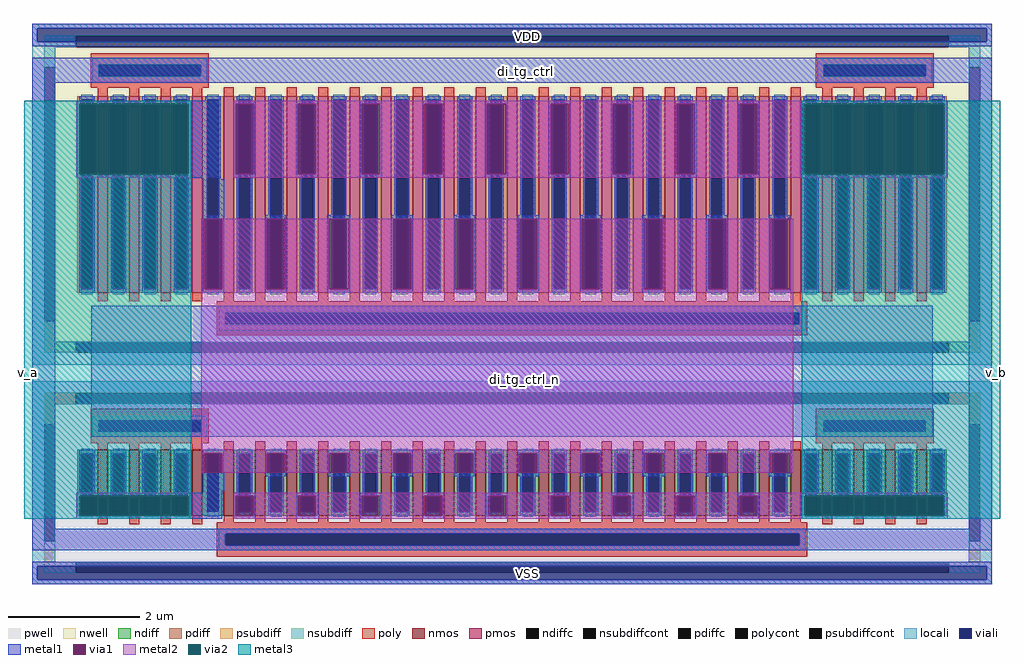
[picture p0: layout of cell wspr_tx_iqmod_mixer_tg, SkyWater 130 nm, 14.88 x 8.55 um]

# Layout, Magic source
magic
tech sky130A
magscale 1 2
<< locali >>
rect -15 975 2910 990
rect -15 935 0 975
rect 2895 935 2910 975
rect -15 20 55 935
rect 2840 20 2910 935
rect -15 -50 2910 20
rect -15 -170 2910 -100
rect -15 -650 55 -170
rect 2840 -650 2910 -170
rect -15 -665 2910 -650
rect -15 -705 0 -665
rect 2895 -705 2910 -665
rect -15 -720 2910 -705
<< viali >>
rect 0 935 2895 975
rect 0 -705 2895 -665
<< metal1 >>
rect -15 975 2910 990
rect -15 935 0 975
rect 2895 935 2910 975
rect -15 920 2910 935
rect -15 810 2910 885
rect -15 -550 55 810
rect 120 745 560 755
rect 120 530 130 745
rect 460 530 560 745
rect 120 520 560 530
rect 600 745 665 755
rect 600 530 605 745
rect 660 530 665 745
rect 600 520 665 530
rect 790 745 855 755
rect 790 530 795 745
rect 850 530 855 745
rect 790 520 855 530
rect 985 745 1050 755
rect 985 530 990 745
rect 1045 530 1050 745
rect 985 520 1050 530
rect 1175 745 1240 755
rect 1175 530 1180 745
rect 1235 530 1240 745
rect 1175 520 1240 530
rect 1365 745 1435 755
rect 1365 530 1370 745
rect 1430 530 1435 745
rect 1365 520 1435 530
rect 1560 745 1625 755
rect 1560 530 1565 745
rect 1620 530 1625 745
rect 1560 520 1625 530
rect 1750 745 1815 755
rect 1750 530 1755 745
rect 1810 530 1815 745
rect 1750 520 1815 530
rect 1945 745 2010 755
rect 1945 530 1950 745
rect 2005 530 2010 745
rect 1945 520 2010 530
rect 2135 745 2200 755
rect 2135 530 2140 745
rect 2195 530 2200 745
rect 2135 520 2200 530
rect 2325 745 2775 755
rect 2325 530 2335 745
rect 2765 530 2775 745
rect 2325 520 2775 530
rect 505 405 515 520
rect 555 515 560 520
rect 555 405 570 515
rect 505 395 570 405
rect 505 180 510 395
rect 565 180 570 395
rect 505 170 570 180
rect 695 395 760 405
rect 695 180 700 395
rect 755 180 760 395
rect 695 170 760 180
rect 885 395 955 405
rect 885 180 890 395
rect 950 180 955 395
rect 885 170 955 180
rect 1080 395 1145 405
rect 1080 180 1085 395
rect 1140 180 1145 395
rect 1080 170 1145 180
rect 1270 395 1335 405
rect 1270 180 1275 395
rect 1330 180 1335 395
rect 1270 170 1335 180
rect 1465 395 1530 405
rect 1465 180 1470 395
rect 1525 180 1530 395
rect 1465 170 1530 180
rect 1655 395 1720 405
rect 1655 180 1660 395
rect 1715 180 1720 395
rect 1655 170 1720 180
rect 1845 395 1910 405
rect 1845 180 1850 395
rect 1905 180 1910 395
rect 1845 170 1910 180
rect 2040 395 2105 405
rect 2040 180 2045 395
rect 2100 180 2105 395
rect 2040 170 2105 180
rect 2230 395 2295 405
rect 2230 180 2235 395
rect 2230 170 2295 180
rect 165 -270 2730 130
rect 505 -320 570 -310
rect 505 -380 510 -320
rect 565 -380 570 -320
rect 505 -435 570 -380
rect 695 -320 760 -310
rect 695 -380 700 -320
rect 755 -380 760 -320
rect 695 -390 760 -380
rect 885 -320 955 -310
rect 885 -380 890 -320
rect 950 -380 955 -320
rect 885 -390 955 -380
rect 1080 -320 1145 -310
rect 1080 -380 1085 -320
rect 1140 -380 1145 -320
rect 1080 -390 1145 -380
rect 1270 -320 1335 -310
rect 1270 -380 1275 -320
rect 1330 -380 1335 -320
rect 1270 -390 1335 -380
rect 1465 -320 1530 -310
rect 1465 -380 1470 -320
rect 1525 -380 1530 -320
rect 1465 -390 1530 -380
rect 1655 -320 1720 -310
rect 1655 -380 1660 -320
rect 1715 -380 1720 -320
rect 1655 -390 1720 -380
rect 1845 -320 1915 -310
rect 1845 -380 1850 -320
rect 1910 -380 1915 -320
rect 1845 -390 1915 -380
rect 2040 -320 2105 -310
rect 2040 -380 2045 -320
rect 2100 -380 2105 -320
rect 2040 -390 2105 -380
rect 2230 -320 2300 -310
rect 2230 -380 2235 -320
rect 2295 -380 2300 -320
rect 2230 -390 2300 -380
rect 505 -440 565 -435
rect 120 -450 565 -440
rect 120 -510 130 -450
rect 460 -510 565 -450
rect 120 -520 565 -510
rect 600 -450 665 -440
rect 600 -510 605 -450
rect 660 -510 665 -450
rect 600 -520 665 -510
rect 790 -450 860 -440
rect 790 -510 795 -450
rect 850 -510 860 -450
rect 790 -520 860 -510
rect 985 -450 1050 -440
rect 985 -510 990 -450
rect 1045 -510 1050 -450
rect 985 -520 1050 -510
rect 1175 -450 1240 -440
rect 1175 -510 1180 -450
rect 1235 -510 1240 -450
rect 1175 -520 1240 -510
rect 1365 -450 1435 -440
rect 1365 -510 1375 -450
rect 1430 -510 1435 -450
rect 1365 -520 1435 -510
rect 1560 -450 1625 -440
rect 1560 -510 1565 -450
rect 1620 -510 1625 -450
rect 1560 -520 1625 -510
rect 1750 -450 1820 -440
rect 1750 -510 1755 -450
rect 1810 -510 1820 -450
rect 1750 -520 1820 -510
rect 1945 -450 2010 -440
rect 1945 -510 1950 -450
rect 2005 -510 2010 -450
rect 1945 -520 2010 -510
rect 2135 -450 2200 -440
rect 2135 -510 2140 -450
rect 2195 -510 2200 -450
rect 2135 -520 2200 -510
rect 2325 -450 2775 -440
rect 2325 -510 2340 -450
rect 2765 -510 2775 -450
rect 2325 -520 2775 -510
rect 2840 -550 2910 810
rect -15 -615 560 -550
rect 2340 -615 2910 -550
rect -15 -665 2910 -650
rect -15 -705 0 -665
rect 2895 -705 2910 -665
rect -15 -720 2910 -705
<< via1 >>
rect 130 530 460 745
rect 605 530 660 745
rect 795 530 850 745
rect 990 530 1045 745
rect 1180 530 1235 745
rect 1370 530 1430 745
rect 1565 530 1620 745
rect 1755 530 1810 745
rect 1950 530 2005 745
rect 2140 530 2195 745
rect 2335 530 2765 745
rect 510 180 565 395
rect 700 180 755 395
rect 890 180 950 395
rect 1085 180 1140 395
rect 1275 180 1330 395
rect 1470 180 1525 395
rect 1660 180 1715 395
rect 1850 180 1905 395
rect 2045 180 2100 395
rect 2235 180 2295 395
rect 510 -380 565 -320
rect 700 -380 755 -320
rect 890 -380 950 -320
rect 1085 -380 1140 -320
rect 1275 -380 1330 -320
rect 1470 -380 1525 -320
rect 1660 -380 1715 -320
rect 1850 -380 1910 -320
rect 2045 -380 2100 -320
rect 2235 -380 2295 -320
rect 130 -510 460 -450
rect 605 -510 660 -450
rect 795 -510 850 -450
rect 990 -510 1045 -450
rect 1180 -510 1235 -450
rect 1375 -510 1430 -450
rect 1565 -510 1620 -450
rect 1755 -510 1810 -450
rect 1950 -510 2005 -450
rect 2140 -510 2195 -450
rect 2340 -510 2765 -450
<< metal2 >>
rect 120 745 470 755
rect 120 530 130 745
rect 460 530 470 745
rect 120 520 470 530
rect 600 745 2775 755
rect 600 530 605 745
rect 660 530 795 745
rect 850 530 990 745
rect 1045 530 1180 745
rect 1235 530 1370 745
rect 1430 530 1565 745
rect 1620 530 1755 745
rect 1810 530 1950 745
rect 2005 530 2140 745
rect 2195 530 2335 745
rect 2765 530 2775 745
rect 600 520 2775 530
rect 500 180 510 395
rect 565 180 700 395
rect 755 180 890 395
rect 950 180 1085 395
rect 1140 180 1275 395
rect 1330 180 1470 395
rect 1525 180 1660 395
rect 1715 180 1850 395
rect 1905 180 2045 395
rect 2100 180 2235 395
rect 2295 180 2305 395
rect 500 -320 2305 180
rect 500 -380 510 -320
rect 565 -380 700 -320
rect 755 -380 890 -320
rect 950 -380 1085 -320
rect 1140 -380 1275 -320
rect 1330 -380 1470 -320
rect 1525 -380 1660 -320
rect 1715 -380 1850 -320
rect 1910 -380 2045 -320
rect 2100 -380 2235 -320
rect 2295 -380 2305 -320
rect 120 -450 465 -440
rect 120 -510 130 -450
rect 460 -510 465 -450
rect 120 -520 465 -510
rect 600 -450 2775 -440
rect 600 -510 605 -450
rect 660 -510 795 -450
rect 850 -510 990 -450
rect 1045 -510 1180 -450
rect 1235 -510 1375 -450
rect 1430 -510 1565 -450
rect 1620 -510 1755 -450
rect 1810 -510 1950 -450
rect 2005 -510 2140 -450
rect 2195 -510 2340 -450
rect 2765 -510 2775 -450
rect 600 -520 2775 -510
<< via2 >>
rect 130 530 460 745
rect 2340 530 2765 745
rect 130 -510 460 -450
rect 2340 -510 2765 -450
<< metal3 >>
rect -40 745 470 755
rect -40 530 130 745
rect 460 530 470 745
rect -40 -450 470 530
rect -40 -510 130 -450
rect 460 -510 470 -450
rect -40 -520 470 -510
rect 2330 745 2935 755
rect 2330 530 2340 745
rect 2765 530 2935 745
rect 2330 -450 2935 530
rect 2330 -510 2340 -450
rect 2765 -510 2935 -450
rect 2330 -520 2935 -510
use sky130_fd_pr__nfet_01v8_98DYX6  sky130_fd_pr__nfet_01v8_98DYX6_0
transform 1 0 1448 0 1 -410
box -1463 -310 1463 310
use sky130_fd_pr__pfet_01v8_3HM6GL  sky130_fd_pr__pfet_01v8_3HM6GL_0
transform 1 0 1448 0 1 469
box -1463 -519 1463 519
<< labels >>
flabel viali 1495 950 1495 950 0 FreeSans 480 0 0 0 VDD
port 3 nsew
flabel metal1 1485 -95 1485 -95 0 FreeSans 480 0 0 0 di_tg_ctrl_n
port 5 nsew
flabel viali 1495 -685 1495 -685 0 FreeSans 480 0 0 0 VSS
port 6 nsew
flabel metal1 1490 845 1490 845 0 FreeSans 480 0 0 0 di_tg_ctrl
port 8 nsew
flabel metal3 -30 -75 -30 -75 0 FreeSans 480 0 0 0 v_a
port 10 nsew
flabel metal3 2925 -75 2925 -75 0 FreeSans 480 0 0 0 v_b
port 12 nsew
<< end >>

# cell sky130_fd_pr__nfet_01v8_98DYX6: kit device sky130_fd_pr__nfet_01v8, w 1 l 0.15 m 1 nf 27 diffcov 100 polycov 100 guard 1 glc 1 grc 1 gtc 1 gbc 1 tbcov 100 rlcov 100 topc 1 botc 1 poverlap 0 doverlap 1 lmin 0.15 wmin 0.42 class mosfet compatible {sky130_fd_pr__nfet_01v8 sky130_fd_pr__nfet_01v8_lvt sky130_fd_bs_flash__special_sonosfet_star sky130_fd_pr__nfet_g5v0d10v5 sky130_fd_pr__nfet_05v0_nvt sky130_fd_pr__nfet_03v3_nvt} full_metal 1 conn_gates 0 viasrc 100 viadrn 100 viagate 100 viagb 0 viagr 0 viagl 0 viagt 0 doports 1

# cell sky130_fd_pr__pfet_01v8_3HM6GL: kit device sky130_fd_pr__pfet_01v8, w 3 l 0.15 m 1 nf 27 diffcov 100 polycov 100 guard 1 glc 1 grc 1 gtc 1 gbc 1 tbcov 100 rlcov 100 topc 1 botc 1 poverlap 0 doverlap 1 lmin 0.15 wmin 0.42 class mosfet compatible {sky130_fd_pr__pfet_01v8 sky130_fd_pr__pfet_01v8_lvt sky130_fd_pr__pfet_01v8_hvt sky130_fd_pr__pfet_g5v0d10v5} full_metal 1 conn_gates 0 viasrc 100 viadrn 100 viagate 100 viagb 0 viagr 0 viagl 0 viagt 0 doports 1
